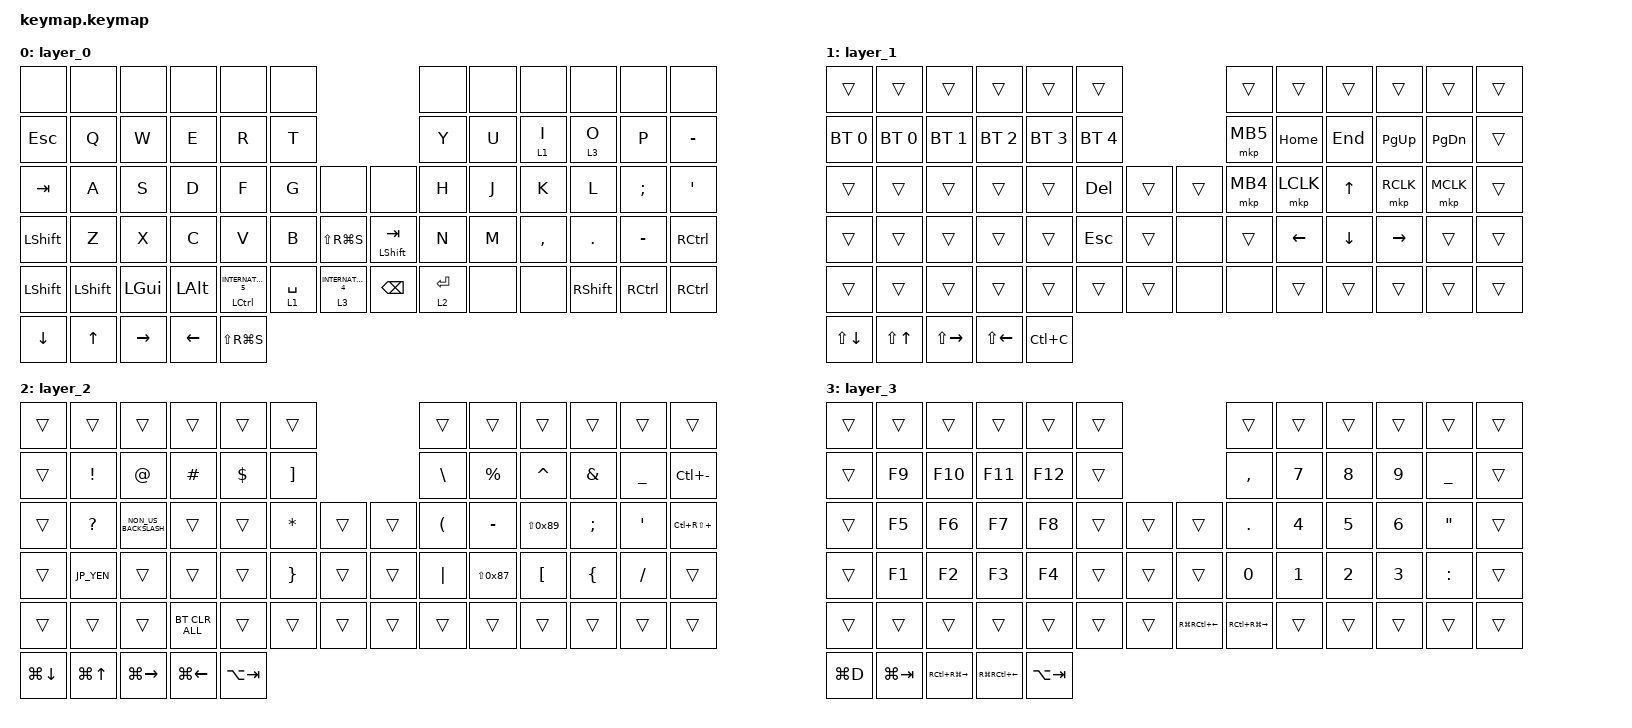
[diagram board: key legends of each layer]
#include <behaviors.dtsi>
#include <dt-bindings/zmk/bt.h>
#include <dt-bindings/zmk/keys.h>
#include <dt-bindings/zmk/pointing.h>

// OS設定を日本語キーボードのまま使用するための変換定義

#define JP_DQUOTE       AT                // "
#define JP_AMPERSAND    CARET             // &
#define JP_QUOTE        AMPERSAND         // '
#define JP_EQUAL        UNDER             // =
#define JP_CARET        EQUAL             // ^
#define JP_YEN          0x89              // ¥
#define JP_PLUS         COLON             // +
#define JP_TILDE        PLUS              // ~
#define JP_PIPE         LS(0x89)          // |
#define JP_AT           LEFT_BRACKET      // @
#define JP_COLON        SINGLE_QUOTE      // :
#define JP_ASTERISK     DOUBLE_QUOTES     // *
#define JP_BACKQUOTE    LEFT_BRACE        // `
#define JP_UNDERSCORE   LS(0x87)          // _
#define JP_LBRACKET     RIGHT_BRACKET     // [
#define JP_RBRACKET     BACKSLASH         // ]
#define JP_LPAREN       ASTERISK          // (
#define JP_RPAREN       LEFT_PARENTHESIS  // )
#define JP_LBRACE       RIGHT_BRACE       // {
#define JP_RBRACE       PIPE              // }
#define JP_KANA         LANGUAGE_1        // かな
#define JP_EISU         LANGUAGE_2        // 英数
#define JP_HANZEN       GRAVE             // 半角/全角

&lt {
    flavor = "tap-preferred";
    tapping-term-ms = <200>;
};

&mt { tapping-term-ms = <200>; };

/* 4-way switch is mounted rotated 180deg: hardware slots are UP DOWN LEFT RIGHT PUSH, so up/down and left/right bindings are swapped */

/ {
    combos {
        compatible = "zmk,combos";

        bt_clear {
            bindings = <&bt BT_CLR>;
            key-positions = <28 29>;
            layers = <2>;
        };

        combo_esc {
            bindings = <&kp ESCAPE>;
            key-positions = <13 14>;
        };

        combo_tab {
            bindings = <&kp TAB>;
            key-positions = <25 26>;
        };

        combo_win {
            bindings = <&kp LGUI>;
            key-positions = <39 40>;
        };

        combo_alt {
            bindings = <&kp LALT>;
            key-positions = <40 41>;
        };
    };

    behaviors {
        tap_dance_0: tap_dance_0 {
            compatible = "zmk,behavior-tap-dance";
            label = "TAP_DANCE_0";
            #binding-cells = <0>;
            bindings = <&mt RIGHT_SHIFT BACKSPACE>, <&kp BACKSPACE>;

            tapping-term-ms = <140>;
        };

        tap_dance_1: tap_dance_1 {
            compatible = "zmk,behavior-tap-dance";
            label = "TAP_DANCE_1";
            #binding-cells = <0>;
            bindings = <&lt 1 SPACE>, <&kp SPACE>;

            tapping-term-ms = <140>;
        };

        lt1_hold_or_tap: lt1_hold_or_tap {
            compatible = "zmk,behavior-hold-tap";
            label = "LT1_HOLD_OR_TAP";
            bindings = <&lt>, <&kp>;

            #binding-cells = <2>;
            tapping-term-ms = <200>;
            hold-while-undecided;
        };

        mt_hold_or_tap: mt_hold_or_tap {
            compatible = "zmk,behavior-hold-tap";
            label = "MT_HOLD_OR_TAP";
            bindings = <&mt>, <&kp>;

            #binding-cells = <2>;
            tapping-term-ms = <200>;
        };
    };

    keymap {
        compatible = "zmk,keymap";

        layer_0 {
            bindings = <
&none           &none           &none     &none     &none                      &none                                                   &none        &none  &none      &none            &none      &none
&kp ESCAPE      &kp Q           &kp W     &kp E     &kp R                      &kp T                                                   &kp Y        &kp U  &lt 1 I    &lt 3 O          &kp P      &kp MINUS
&kp TAB         &kp A           &kp S     &kp D     &kp F                      &kp G        &none                  &none               &kp H        &kp J  &kp K      &kp L            &kp SEMI   &kp JP_COLON
&kp LEFT_SHIFT  &kp Z           &kp X     &kp C     &kp V                      &kp B        &kp LS(RG(S))          &mt LEFT_SHIFT TAB  &kp N        &kp M  &kp COMMA  &kp DOT          &kp MINUS  &kp RCTRL
&kp LEFT_SHIFT  &kp LEFT_SHIFT  &kp LGUI  &kp LALT  &mt LCTRL INTERNATIONAL_5  &lt 1 SPACE  &lt 3 INTERNATIONAL_4  &kp BACKSPACE       &lt 2 ENTER  &none  &none      &kp RIGHT_SHIFT  &kp RCTRL  &kp RCTRL
&kp DOWN_ARROW &kp UP_ARROW &kp RIGHT_ARROW &kp LEFT_ARROW &kp LS(RG(S))
            >;
        };

        layer_1 {
            bindings = <
&trans        &trans        &trans        &trans        &trans        &trans                        &trans    &trans          &trans          &trans           &trans         &trans
&bt BT_SEL 0  &bt BT_SEL 0  &bt BT_SEL 1  &bt BT_SEL 2  &bt BT_SEL 3  &bt BT_SEL 4                  &mkp MB5  &kp HOME        &kp END         &kp PAGE_UP      &kp PAGE_DOWN  &trans
&trans        &trans        &trans        &trans        &trans        &kp DELETE    &trans  &trans  &mkp MB4  &mkp LCLK       &kp UP_ARROW    &mkp RCLK        &mkp MCLK      &trans
&trans        &trans        &trans        &trans        &trans        &kp ESC       &trans  &none   &trans    &kp LEFT_ARROW  &kp DOWN_ARROW  &kp RIGHT_ARROW  &trans         &trans
&trans        &trans        &trans        &trans        &trans        &trans        &trans  &none   &none     &trans          &trans          &trans           &trans         &trans
&kp LS(DOWN_ARROW) &kp LS(UP_ARROW) &kp LS(RIGHT_ARROW) &kp LS(LEFT_ARROW) &kp LC(C)
            >;
        };

        layer_2 {
            bindings = <
&trans  &trans           &trans                &trans          &trans      &trans                           &trans           &trans             &trans            &trans            &trans        &trans
&trans  &kp EXCLAMATION  &kp JP_DQUOTE         &kp HASH        &kp DOLLAR  &kp JP_LBRACKET                  &kp JP_RBRACKET  &kp PERCENT        &kp JP_AMPERSAND  &kp JP_QUOTE      &kp JP_EQUAL  &kp LC(MINUS)
&trans  &kp QUESTION     &kp NON_US_BACKSLASH  &trans          &trans      &kp JP_LPAREN    &trans  &trans  &kp JP_RPAREN    &kp MINUS          &kp JP_PIPE       &kp SEMICOLON     &kp JP_COLON  &kp LC(RS(PLUS))
&trans  &kp JP_YEN       &trans                &trans          &trans      &kp JP_LBRACE    &trans  &trans  &kp JP_RBRACE    &kp JP_UNDERSCORE  &kp JP_AT         &kp JP_BACKQUOTE  &kp SLASH     &trans
&trans  &trans           &trans                &bt BT_CLR_ALL  &trans      &trans           &trans  &trans  &trans           &trans             &trans            &trans            &trans        &trans
&kp LG(DOWN_ARROW) &kp LG(UP_ARROW) &kp LG(RIGHT_ARROW) &kp LG(LEFT_ARROW) &kp LA(TAB)
            >;
        };

        layer_3 {
            bindings = <
&trans  &trans  &trans   &trans   &trans   &trans                                  &trans                   &trans  &trans  &trans  &trans           &trans
&trans  &kp F9  &kp F10  &kp F11  &kp F12  &trans                                  &kp COMMA                &kp N7  &kp N8  &kp N9  &kp JP_EQUAL     &trans
&trans  &kp F5  &kp F6   &kp F7   &kp F8   &trans  &trans  &trans                  &kp PERIOD               &kp N4  &kp N5  &kp N6  &kp JP_ASTERISK  &trans
&trans  &kp F1  &kp F2   &kp F3   &kp F4   &trans  &trans  &trans                  &kp N0                   &kp N1  &kp N2  &kp N3  &kp JP_PLUS      &trans
&trans  &trans  &trans   &trans   &trans   &trans  &trans  &kp RG(RC(LEFT_ARROW))  &kp RC(RG(RIGHT_ARROW))  &trans  &trans  &trans  &trans           &trans
&kp LG(D) &kp LG(TAB) &kp RC(RG(RIGHT_ARROW)) &kp RG(RC(LEFT_ARROW)) &kp LA(TAB)
            >;
        };
    };
};

